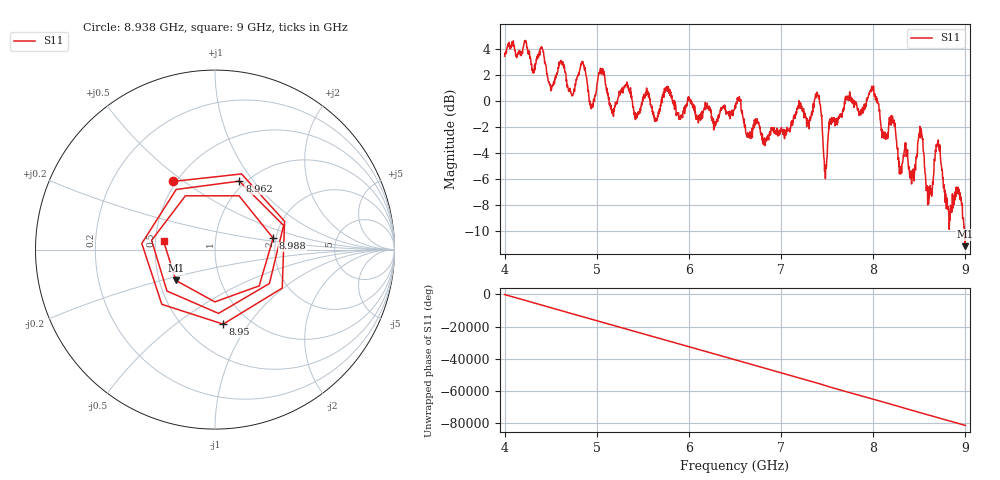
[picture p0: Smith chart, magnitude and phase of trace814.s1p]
! Created with skrf 1.8.0 (http://scikit-rf.org).
# Hz S RI R 50.0
!freq ReS11 ImS11
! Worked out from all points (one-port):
!   1601 points, 4 GHz to 9 GHz, reference 50 ohm
!   lowest |S11| = -11.1 dB at 8.997 GHz (marker M1), VSWR 1.77, Z = 30.5 - j11.3 ohm
!   |S11| at or under -10 dB: 8.991244 GHz to end of sweep
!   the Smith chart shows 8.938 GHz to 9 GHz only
!   S11 on the Smith chart (normalised r, x): 8.938 GHz: 0.48, +0.46; 8.95 GHz: 0.76, -0.77; 8.962 GHz: 0.94, +0.85; 8.988 GHz: 1.93, +0.28; 9 GHz: 0.55, +0.06
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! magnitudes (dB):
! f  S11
! 4 GHz  3.5
! 4.625 GHz  2.8
! 4.722 GHz  0.6
! 4.853 GHz  2.9
! 4.941 GHz  -0.6
! 5.044 GHz  2.2
! 5.162 GHz  -0.6
! 5.25 GHz  0.5
! 5.875 GHz  -1.0
! 6.5 GHz  -0.5
! 6.819 GHz  -2.8
! 7.125 GHz  -1.8
! 7.394 GHz  0.6
! 7.481 GHz  -6.0
! 7.544 GHz  -1.8
! 7.75 GHz  0.5
! 7.994 GHz  0.8
! 8.375 GHz  -4.4
! 8.512 GHz  -2.8
! 8.597 GHz  -6.7
! 8.7 GHz  -3.3
! 8.812 GHz  -8.1
! 8.938 GHz  -7.0
! 8.95 GHz  -7.6
! 8.962 GHz  -7.9
! 8.988 GHz  -9.6
! 8.997 GHz  -11.1
! 9 GHz  -10.7
